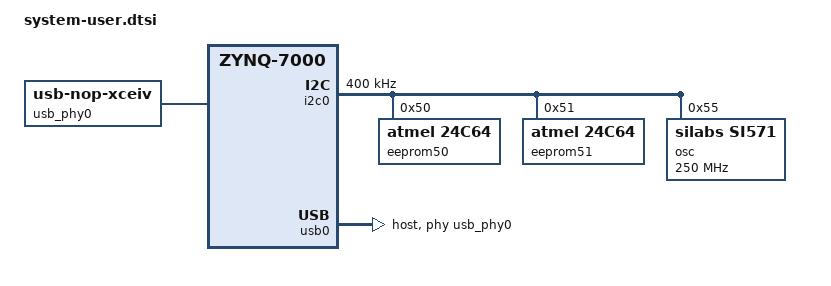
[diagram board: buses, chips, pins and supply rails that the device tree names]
/include/ "system-conf.dtsi"
/ {
	compatible = "xlnx,zynq-7000";

	chosen {
		xlnx,eeprom = &eeprom50;
	};

	usb_phy0: phy0 {
		#phy-cells = <0>;
		compatible = "usb-nop-xceiv";
	};
};


&i2c0 {
	status = "okay";
	clock-frequency = <400000>;

	eeprom50: eeprom@50 {
		compatible = "atmel,24c64";
		size = <8192>;
		reg = <0x50>;
		pagesize = <32>;
	};

	eeprom51: eeprom@51 {
		compatible = "atmel,24c64";
		size = <8192>;
		reg = <0x51>;
		pagesize = <32>;
	};

	osc@55 {
		#clock-cells = <0>;
		compatible = "silabs,si571";
		reg = <0x55>;
		factory-fout = <100000000>;
		clock-frequency = <250000000>;
		temperature-stability = <50>;
	};
};

&usb0 {	
	status = "okay";
	dr_mode = "host";
	usb-phy = <&usb_phy0>;
};
